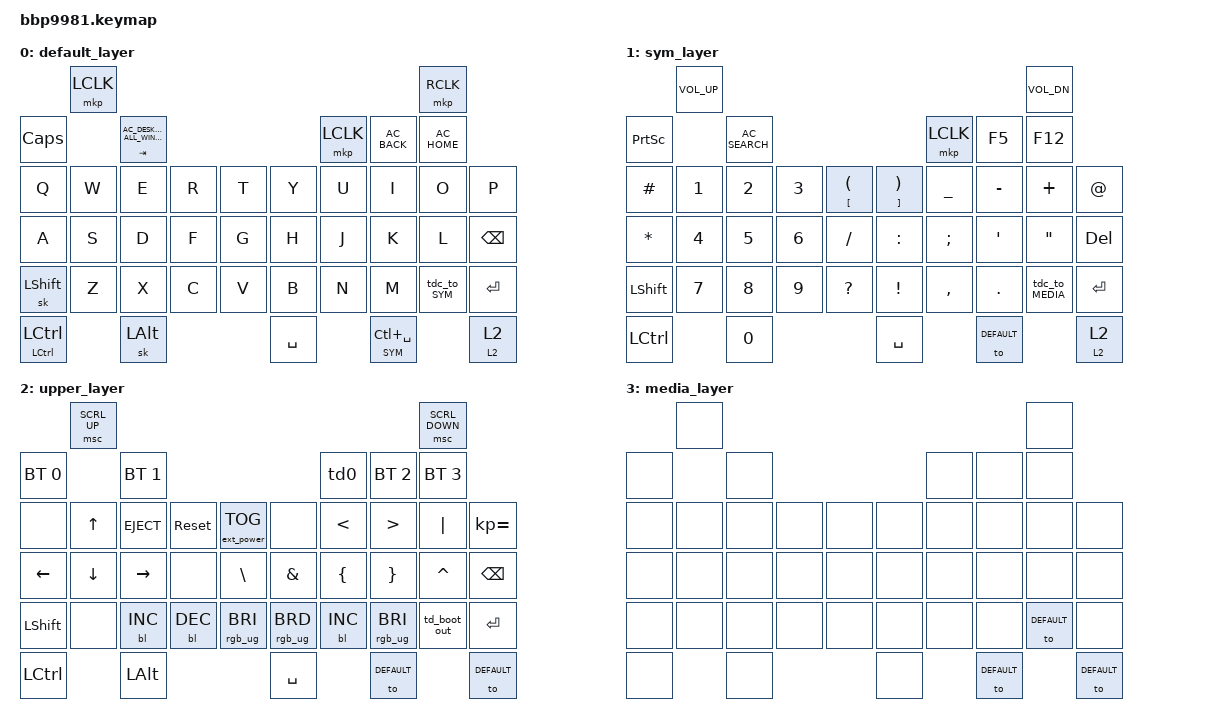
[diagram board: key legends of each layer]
/*
 * Copyright (c) 2025 ZitaoTech
 *
 * SPDX-License-Identifier: MIT
 */

#include <behaviors.dtsi>
#include <dt-bindings/zmk/keys.h>
#include <dt-bindings/zmk/bt.h>
#include <dt-bindings/zmk/outputs.h>
#include <dt-bindings/zmk/mouse.h>
#include <dt-bindings/zmk/backlight.h>
#include <dt-bindings/zmk/ext_power.h>
#include <dt-bindings/zmk/rgb.h>

#define DEFAULT 0
#define SYM 1
#define UPPER 2
#define MEDIA 3

#define SL_MO(layer) &sl_mo layer layer //tap -> sticky layer, hold -> momentary layer

&sl {
    release-after-ms = <3000>;
    };

/ {
    behaviors {
        td0: tap_dance_0 {
            compatible = "zmk,behavior-tap-dance";
            #binding-cells = <0>;
            tapping-term-ms = <400>;
            bindings = <&mkp LCLK>, <&bt BT_CLR>;
        };
    };

    behaviors {
        td_boot_out: td_boot_out {
            compatible = "zmk,behavior-tap-dance";
            #binding-cells = <0>;
            tapping-term-ms = <400>;           
            bindings = <&bootloader>, <&out OUT_TOG>;
        };
    };

    behaviors {
        tdc_to_SYM: td_comma_to_layer {
            compatible = "zmk,behavior-tap-dance";
            #binding-cells = <0>;
            tapping-term-ms = <400>;
            bindings = <&kp SEMI>, <&to SYM>;
        };
    };

    behaviors {
        tdc_to_MEDIA: td_mute_to_layer {
            compatible = "zmk,behavior-tap-dance";
            #binding-cells = <0>;
            tapping-term-ms = <400>;
            bindings = <&kp C_MUTE>, <&to MEDIA>;
        };
    };

    behaviors {
        hm: homerow_mods {
            compatible = "zmk,behavior-hold-tap";
            #binding-cells = <2>;
            tapping-term-ms = <400>;
            bindings = <&kp &kp>;
        };
    };
    
    behaviors {
    sl_mo: behavior_sl_mo {
        compatible = "zmk,behavior-hold-tap";
        #binding-cells = <2>;
        flavor = "hold-preferred";      /* 单击优先 */
        tapping-term-ms = <450>;       /* 长按阈值 */
        bindings = <&mo &sl>;          /* hold=MO, tap=SL */
        };
    };

    behaviors {
    sym_lang1: behavior_sym_lang1 {
        compatible = "zmk,behavior-hold-tap";
        #binding-cells = <2>;
        flavor = "hold-preferred";
        tapping-term-ms = <450>;
        bindings = <&mo &kp>;           /* hold=Layer 1, tap=LANG1 */
        };
    };

    behaviors {
    sk_kp: behavior_sk_kp {
        compatible = "zmk,behavior-hold-tap";
        #binding-cells = <2>;
        flavor = "hold-preferred";      
        tapping-term-ms = <450>;       
        bindings = <&kp &sk>;          /* hold=kp, tap=sticky key */
        };
    };

    behaviors {
        hold_tap_450: hold_tap_450 {
            compatible = "zmk,behavior-hold-tap";
            #binding-cells = <2>;
            flavor = "hold-preferred";
            tapping-term-ms = <450>;
            bindings = <&kp &kp>;
        };
    };

    behaviors {
        bhm: balanced_homerow_mods {
            compatible = "zmk,behavior-hold-tap";
            #binding-cells = <2>;
            flavor = "balanced";
            tapping-term-ms = <400>;
            bindings = <&kp>, <&kp>;
        };
    };

    keymap {
        compatible = "zmk,keymap";

        default_layer {

            bindings = <
//         --------------------------------------------------------------------------------------------------------------------------         
//         |    Shoulder Key1    |                                                                             |    Shoulder Key2    |     
// |         Call key      |      Blackberry Key        |    Trackpad    |             Back Key                |             Endcall Key          |
// |     Q      |     W    |     E    |     R    |      T      |       Y        |       U        |        I        |       O      |      P        |     
// |     A      |     S    |     D    |     F    |      G      |       H        |       J        |        K        |       L      |      ←        |  
// |     alt    |     Z    |     X    |     C    |      V      |       B        |       N        |        M        |       $      |    Enter      |   
//        |         aA     |         0           |           SPACE              |         SYM         |        aA          |       
//        -----------------------------------------------------------------------------------------------------------------

                 &mkp LCLK                                                                                          &mkp RCLK
    &kp CLCK                &hold_tap_450 TAB C_AC_DESKTOP_SHOW_ALL_WINDOWS &mkp LCLK &kp C_AC_BACK &kp C_AC_HOME
    &kp Q        &kp W      &kp E       &kp R     &kp T         &kp Y             &kp U            &kp I            &kp O            &kp P
    &kp A        &kp S      &kp D       &kp F     &kp G         &kp H             &kp J            &kp K            &kp L            &kp BSPC
    &sk LSHFT    &kp Z      &kp X       &kp C     &kp V         &kp B             &kp N            &kp M            &tdc_to_SYM      &kp ENTER
    &sk_kp LCTRL  LCTRL     &sk LALT                            &kp SPACE                          &sym_lang1 SYM LC(SPACE)          &sl_mo 2 2
            >;
        };


        sym_layer {

            bindings = <        
                 &kp C_VOL_UP                                                                                       &kp C_VOL_DN
    &kp PSCRN               &kp C_AC_SEARCH                     &mkp LCLK                          &kp F5                            &kp F12 
    &kp HASH     &kp N1     &kp N2      &kp N3    &mt LBKT LPAR &mt RBKT RPAR     &kp UNDER        &kp MINUS        &kp PLUS         &kp AT
    &kp STAR     &kp N4     &kp N5      &kp N6    &kp SLASH     &kp COLON         &kp SEMI         &kp APOS         &kp DQT          &kp DEL
    &kp LSHFT    &kp N7     &kp N8      &kp N9    &kp QMARK     &kp EXCL          &kp COMMA        &kp DOT          &tdc_to_MEDIA    &kp ENTER
    &kp LCTRL               &kp N0                              &kp SPACE                          &to DEFAULT                       &sl_mo 2 2
            >;
        };

        upper_layer {

            bindings = <
                 &msc SCRL_UP                                                                               &msc SCRL_DOWN
    &bt BT_SEL 0            &bt BT_SEL 1                                  &td0                              &bt BT_SEL 2                     &bt BT_SEL 3
    &none        &kp UP     &kp C_EJECT &sys_reset      &ext_power EP_TOG &none            &kp LT           &kp GT          &kp PIPE         &kp KP_EQUAL
    &kp LEFT     &kp DOWN   &kp RIGHT   &none           &kp BSLH          &kp AMPS         &kp LBRC         &kp RBRC        &kp CARET        &kp BSPC
    &kp LSHFT    &none      &bl BL_INC       &bl BL_DEC       &rgb_ug RGB_BRI   &rgb_ug RGB_BRD   &bl BL_INC       &rgb_ug RGB_BRI &td_boot_out     &kp ENTER
    &kp LCTRL               &kp LALT                                      &kp  SPACE                        &to DEFAULT                      &to DEFAULT
            >;
        };

        media_layer {

            bindings = <
                 &none                                                                                        &none
    &none                  &none                               &none                         &none                            &none
    &none        &none     &none       &none      &none        &none         &none           &none           &none            &none
    &none        &none     &none       &none      &none        &none         &none           &none           &none            &none
    &none        &none     &none       &none      &none        &none         &none           &none           &to DEFAULT      &none
    &none                  &none                               &none                         &to DEFAULT                      &to DEFAULT
            >;
        };
    };
};
